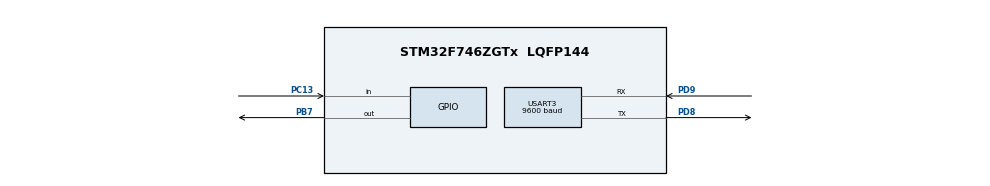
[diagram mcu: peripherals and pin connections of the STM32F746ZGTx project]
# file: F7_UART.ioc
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Mcu.Family=STM32F7
Mcu.Name=STM32F746ZGTx
Mcu.Package=LQFP144
NVIC.PriorityGroup=NVIC_PRIORITYGROUP_4
PB7.Signal=GPIO_Output
PC13.Signal=GPIO_Input
PD8.Mode=Asynchronous
PD8.Signal=USART3_TX
PD9.Mode=Asynchronous
PD9.Signal=USART3_RX
PH0/OSC_IN.Mode=HSE-External-Oscillator
PH0/OSC_IN.Signal=RCC_OSC_IN
PH1/OSC_OUT.Mode=HSE-External-Oscillator
PH1/OSC_OUT.Signal=RCC_OSC_OUT
ProjectManager.HeapSize=0x200
ProjectManager.StackSize=0x400
ProjectManager.TargetToolchain=STM32CubeIDE
RCC.HSE_VALUE=25000000
RCC.HSI_VALUE=16000000
RCC.LSE_VALUE=32768
RCC.USBFreq_Value=96000000
RCC.VCOOutputFreq_Value=192000000
USART3.BaudRate=9600
USART3.VirtualMode-Asynchronous=VM_ASYNC
board=custom

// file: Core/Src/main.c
/* USER CODE BEGIN Header */
/**
 ******************************************************************************
 * @file           : main.c
 * @brief          : Main program body
 ******************************************************************************
 * @attention
 *
 * <h2><center>&copy; Copyright (c) 2020 STMicroelectronics.
 * All rights reserved.</center></h2>
 *
 * This software component is licensed by ST under BSD 3-Clause license,
 * the "License"; You may not use this file except in compliance with the
 * License. You may obtain a copy of the License at:
 *                        opensource.org/licenses/BSD-3-Clause
 *
 ******************************************************************************
 */
/* USER CODE END Header */

#include "main.h"

UART_HandleTypeDef huart3;

void SystemClock_Config(void);
static void MX_GPIO_Init(void);
static void MX_USART3_UART_Init(void);
/* USER CODE BEGIN PFP */
static void CMSIS_Init(void);
/* USER CODE END PFP */

int main(void) {

  /* MCU Configuration--------------------------------------------------------*/

  /* Reset of all peripherals, Initializes the Flash interface and the Systick. */
  HAL_Init();

  /* Configure the system clock */
  SystemClock_Config();

  /* Initialize all configured peripherals */
  MX_GPIO_Init();
  MX_USART3_UART_Init();
  /* USER CODE BEGIN 2 */
  CMSIS_Init();
  NVIC_EnableIRQ(USART3_IRQn);
  /* USER CODE END 2 */

  /* Infinite loop */
  while (1) {

    /* USER CODE BEGIN 3 */
    if (GPIOC->IDR & (0x01 << 13)) {
      GPIOB->ODR |= (0x01 << 7);
    } else {
      GPIOB->ODR &= ~(0x01 << 7);
    }
  }
  /* USER CODE END 3 */
}

void SystemClock_Config(void) {
  RCC_OscInitTypeDef RCC_OscInitStruct = {0};
  RCC_ClkInitTypeDef RCC_ClkInitStruct = {0};
  RCC_PeriphCLKInitTypeDef PeriphClkInitStruct = {0};

  /** Configure the main internal regulator output voltage
   */
  __HAL_RCC_PWR_CLK_ENABLE();
  __HAL_PWR_VOLTAGESCALING_CONFIG(PWR_REGULATOR_VOLTAGE_SCALE3);
  /** Initializes the CPU, AHB and APB busses clocks
   */
  RCC_OscInitStruct.OscillatorType = RCC_OSCILLATORTYPE_HSI;
  RCC_OscInitStruct.HSIState = RCC_HSI_ON;
  RCC_OscInitStruct.HSICalibrationValue = RCC_HSICALIBRATION_DEFAULT;
  RCC_OscInitStruct.PLL.PLLState = RCC_PLL_NONE;
  if (HAL_RCC_OscConfig(&RCC_OscInitStruct) != HAL_OK) {
    Error_Handler();
  }
  /** Initializes the CPU, AHB and APB busses clocks
   */
  RCC_ClkInitStruct.ClockType = RCC_CLOCKTYPE_HCLK|RCC_CLOCKTYPE_SYSCLK
      |RCC_CLOCKTYPE_PCLK1|RCC_CLOCKTYPE_PCLK2;
  RCC_ClkInitStruct.SYSCLKSource = RCC_SYSCLKSOURCE_HSI;
  RCC_ClkInitStruct.AHBCLKDivider = RCC_SYSCLK_DIV1;
  RCC_ClkInitStruct.APB1CLKDivider = RCC_HCLK_DIV1;
  RCC_ClkInitStruct.APB2CLKDivider = RCC_HCLK_DIV1;

  if (HAL_RCC_ClockConfig(&RCC_ClkInitStruct, FLASH_LATENCY_0) != HAL_OK) {
    Error_Handler();
  }
  PeriphClkInitStruct.PeriphClockSelection = RCC_PERIPHCLK_USART3;
  PeriphClkInitStruct.Usart3ClockSelection = RCC_USART3CLKSOURCE_PCLK1;
  if (HAL_RCCEx_PeriphCLKConfig(&PeriphClkInitStruct) != HAL_OK) {
    Error_Handler();
  }
}

static void MX_USART3_UART_Init(void) {

  huart3.Instance = USART3;
  huart3.Init.BaudRate = 9600;
  huart3.Init.WordLength = UART_WORDLENGTH_8B;
  huart3.Init.StopBits = UART_STOPBITS_1;
  huart3.Init.Parity = UART_PARITY_NONE;
  huart3.Init.Mode = UART_MODE_TX_RX;
  huart3.Init.HwFlowCtl = UART_HWCONTROL_NONE;
  huart3.Init.OverSampling = UART_OVERSAMPLING_16;
  huart3.Init.OneBitSampling = UART_ONE_BIT_SAMPLE_DISABLE;
  huart3.AdvancedInit.AdvFeatureInit = UART_ADVFEATURE_NO_INIT;
  if (HAL_UART_Init(&huart3) != HAL_OK)
  {
    Error_Handler();
  }
}

static void MX_GPIO_Init(void) {
  GPIO_InitTypeDef GPIO_InitStruct = {0};

  /* GPIO Ports Clock Enable */
  __HAL_RCC_GPIOC_CLK_ENABLE();
  __HAL_RCC_GPIOH_CLK_ENABLE();
  __HAL_RCC_GPIOD_CLK_ENABLE();
  __HAL_RCC_GPIOB_CLK_ENABLE();

  /*Configure GPIO pin Output Level */
  HAL_GPIO_WritePin(GPIOB, GPIO_PIN_7, GPIO_PIN_RESET);

  /*Configure GPIO pin : PC13 */
  GPIO_InitStruct.Pin = GPIO_PIN_13;
  GPIO_InitStruct.Mode = GPIO_MODE_INPUT;
  GPIO_InitStruct.Pull = GPIO_NOPULL;
  HAL_GPIO_Init(GPIOC, &GPIO_InitStruct);

  /*Configure GPIO pin : PB7 */
  GPIO_InitStruct.Pin = GPIO_PIN_7;
  GPIO_InitStruct.Mode = GPIO_MODE_OUTPUT_PP;
  GPIO_InitStruct.Pull = GPIO_NOPULL;
  GPIO_InitStruct.Speed = GPIO_SPEED_FREQ_LOW;
  HAL_GPIO_Init(GPIOB, &GPIO_InitStruct);

}

/* USER CODE BEGIN 4 */

/**
 * @brief CMSIS Initialization Function
 */
static void CMSIS_Init(void) {
  /** Configure register to output to LED */
  RCC->AHB1ENR |= RCC_AHB1ENR_GPIOBEN;
  GPIOB->MODER |= (0x01 << (7 * 2)); // 0x01 push-pull
  /** Configure register to read button */
  RCC->AHB1ENR |= RCC_AHB1ENR_GPIOCEN;
  GPIOC->MODER &= ~(0x01 << (13 * 2)); // Clear bit to ensure input
  GPIOC->PUPDR &= ~(0x03 << (13 * 2)); // Clear pullup/pulldown register

  /** Enable Transmit / Receive / Parity Error interrupt / Receive not empty interrupt */
  USART3->CR1 |= (USART_CR1_TE | USART_CR1_RE| USART_CR1_PEIE | USART_CR1_RXNEIE);
}

void USART3_IRQHandler(void) {
  if (USART3->ISR & USART_ISR_RXNE) { // If RX not empty
    char temp = USART3->RDR; // Receive data register
    printf("Char received: %s", temp);
    // Flash the LED for every byte (send more bytes to and observe longer period of illumination)
    GPIOB->ODR |= (0x01 << 7);
  }
}

/* USER CODE END 4 */

void Error_Handler(void) {
}

/************************ (C) COPYRIGHT STMicroelectronics *****END OF FILE****/
